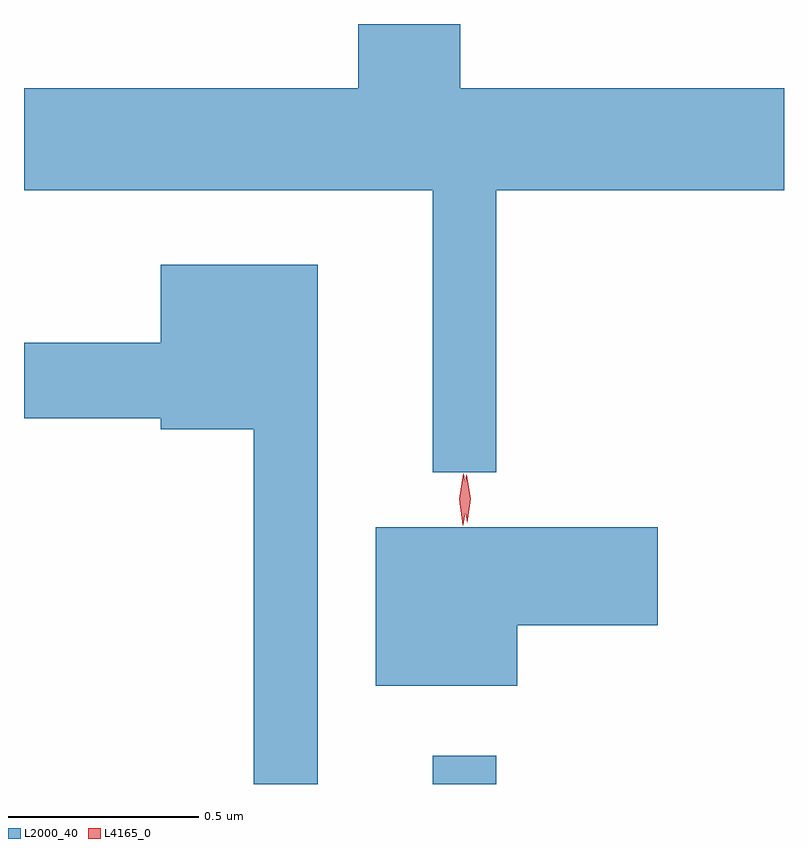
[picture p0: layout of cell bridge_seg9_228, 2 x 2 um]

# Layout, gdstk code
import gdstk
lib = gdstk.Library(unit=1e-6, precision=1e-09)
def R(c, l, rs):  # rectangles x0, y0, x1, y1
    for r in rs: c.add(gdstk.rectangle(r[:2], r[2:], *l))
def P(c, l, *ps):  # polygons
    for p in ps: c.add(gdstk.Polygon(p, *l))
L2000_40 = (2000, 40)
L4165_0 = (4165, 0)

bridge_seg9_228 = lib.new_cell('bridge_seg9_228')
R(bridge_seg9_228, L2000_40, [(1314.171,1979.153,1314.339,1979.228)])
P(bridge_seg9_228, L2000_40, [(1314.339,1980.716),(1315.096,1980.716),(1315.096,1980.984),(1314.244,1980.984),(1314.244,1981.153),(1313.976,1981.153),(1313.976,1980.984),(1313.096,1980.984),(1313.096,1980.716),(1314.171,1980.716),(1314.171,1979.973),(1314.339,1979.973)],
  [(1313.869,1980.519),(1313.456,1980.519),(1313.456,1980.314),(1313.096,1980.314),(1313.096,1980.116),(1313.456,1980.116),(1313.456,1980.086),(1313.701,1980.086),(1313.701,1979.153),(1313.869,1979.153)],
  [(1314.394,1979.571),(1314.764,1979.571),(1314.764,1979.829),(1314.021,1979.829),(1314.021,1979.411),(1314.394,1979.411)])
P(bridge_seg9_228, L4165_0, [(1314.262,1979.84),(1314.262,1979.841),(1314.252,1979.904),(1314.26,1979.966),(1314.261,1979.967),(1314.261,1979.966),(1314.272,1979.904),(1314.263,1979.841)],
  [(1314.251,1979.834),(1314.242,1979.902),(1314.252,1979.97),(1314.253,1979.97),(1314.253,1979.97),(1314.262,1979.902),(1314.252,1979.834),(1314.252,1979.834)])

lib.write_gds('bridge_seg9_228.gds')
